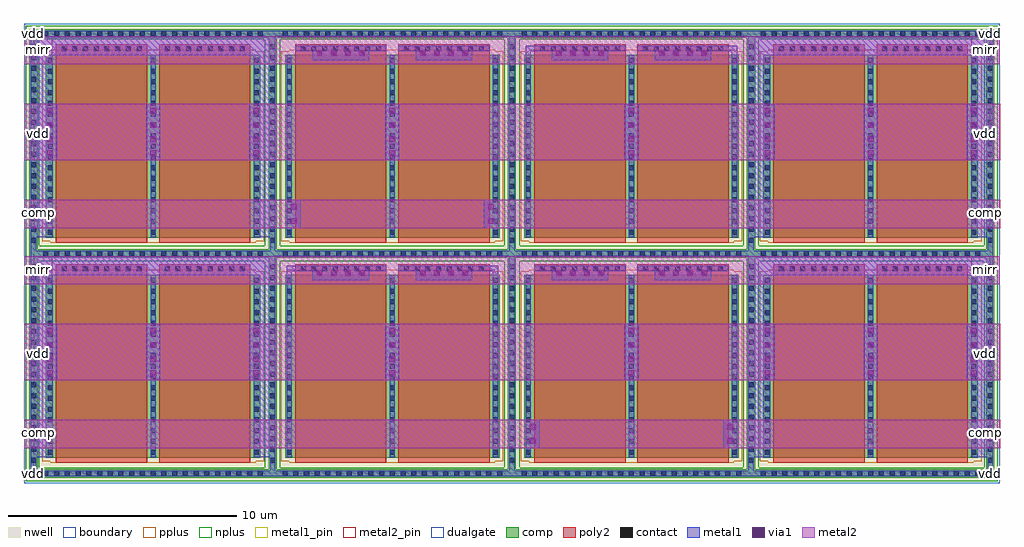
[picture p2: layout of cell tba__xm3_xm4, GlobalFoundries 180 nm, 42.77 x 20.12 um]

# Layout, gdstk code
from math import pi, radians
import gdstk
lib = gdstk.Library(unit=1e-6, precision=1e-09)
def R(c, l, rs):  # rectangles x0, y0, x1, y1
    for r in rs: c.add(gdstk.rectangle(r[:2], r[2:], *l))
def A(c, l, x, y, w, h, nx, ny, dx, dy):  # array of equal rectangles
    R(c, l, [(x+i*dx, y+j*dy, x+i*dx+w, y+j*dy+h) for i in range(nx) for j in range(ny)])
def P(c, l, *ps):  # polygons
    for p in ps: c.add(gdstk.Polygon(p, *l))
boundary = (0, 0)
nwell = (21, 0)
comp = (22, 0)
poly2 = (30, 0)
pplus = (31, 0)
nplus = (32, 0)
contact = (33, 0)
metal1 = (34, 0)
metal1_pin = (34, 10)
via1 = (35, 0)
metal2 = (36, 0)
metal2_pin = (36, 10)
dualgate = (55, 0)

via__m1_m2_squ = lib.new_cell('via__M1_M2_SQU')
R(via__m1_m2_squ, metal1, [(0,0,1.24,0.62), (0,0,1.24,0.62)])
R(via__m1_m2_squ, via1, [(0.18,0.18,0.44,0.44), (0.18,0.18,0.44,0.44), (0.8,0.18,1.06,0.44), (0.8,0.18,1.06,0.44)])
R(via__m1_m2_squ, metal2, [(0,0,1.24,0.62), (0,0,1.24,0.62)])

pfet_06v0_8u_4u_2nf = lib.new_cell('pfet_06v0_8u_4u_2nf')
R(pfet_06v0_8u_4u_2nf, boundary, [(0.42,0.42,10.9,10.06)])
R(pfet_06v0_8u_4u_2nf, nwell, [(0.08,0.08,11.24,10.4)])
R(pfet_06v0_8u_4u_2nf, comp, [(0.24,0.24,11.08,0.6), (0.24,0.6,0.6,9.88), (10.72,0.6,11.08,9.88), (0.96,1.12,10.36,9.12), (0.24,9.88,11.08,10.24)])
R(pfet_06v0_8u_4u_2nf, poly2, [(1.4,0.9,5.4,9.58), (5.92,0.9,9.92,9.58)])
R(pfet_06v0_8u_4u_2nf, pplus, [(1.17,0.89,10.15,0.96), (0.8,0.96,10.52,9.28), (1.17,9.28,10.15,9.35)])
R(pfet_06v0_8u_4u_2nf, nplus, [(0.08,0.08,11.24,0.67), (0.08,0.67,0.67,9.81), (10.65,0.67,11.24,9.81), (0.08,9.81,11.24,10.4)])
A(pfet_06v0_8u_4u_2nf, contact, 0.85, 0.31, 0.22, 0.22, 21, 2, 0.47, 9.64)
A(pfet_06v0_8u_4u_2nf, contact, 0.31, 0.9, 0.22, 0.22, 1, 19, 0, 0.47)
A(pfet_06v0_8u_4u_2nf, contact, 10.79, 0.9, 0.22, 0.22, 1, 19, 0, 0.47)
A(pfet_06v0_8u_4u_2nf, contact, 1.03, 1.25, 0.22, 0.22, 3, 17, 4.52, 0.47)
A(pfet_06v0_8u_4u_2nf, contact, 1.645, 9.29, 0.22, 0.22, 8, 1, 0.47, 0)
A(pfet_06v0_8u_4u_2nf, contact, 6.165, 9.29, 0.22, 0.22, 8, 1, 0.47, 0)
A(pfet_06v0_8u_4u_2nf, metal1, 1.025, 1.13, 0.23, 7.98, 3, 1, 4.52, 0)
R(pfet_06v0_8u_4u_2nf, metal1, [(0.305,0.305,11.015,0.535), (0.305,0.535,0.535,9.945), (10.785,0.535,11.015,9.945), (1.41,9.285,5.39,9.515), (5.93,9.285,9.91,9.515), (0.305,9.945,11.015,10.175)])
R(pfet_06v0_8u_4u_2nf, dualgate, [(0,0,11.32,10.48)])

tba__xm3_xm4 = lib.new_cell('tba__xm3_xm4')
R(tba__xm3_xm4, metal1, [(0.535,1.13,1.025,9.11), (0.535,1.13,1.025,9.11), (10.295,1.13,10.785,9.11), (10.295,1.13,10.785,9.11), (31.975,1.13,32.465,9.11), (41.735,1.13,42.225,9.11), (0.535,9.11,10.785,9.945), (0.535,9.11,10.785,9.945), (31.975,9.11,42.225,9.945), (0.535,10.77,1.025,18.75), (10.295,10.77,10.785,18.75), (31.975,10.77,32.465,18.75), (31.975,10.77,32.465,18.75), (41.735,10.77,42.225,18.75), (41.735,10.77,42.225,18.75), (0.535,18.75,10.785,19.585), (31.975,18.75,42.225,19.585), (31.975,18.75,42.225,19.585)])
P(tba__xm3_xm4, metal1, [(20.545,9.11),(20.545,9.285),(20.39,9.285),(20.39,9.515),(20.775,9.515),(20.775,9.11)],
  [(31.025,18.75),(31.025,18.925),(30.87,18.925),(30.87,19.155),(31.255,19.155),(31.255,18.75)],
  [(11.505,9.11),(11.505,9.515),(11.89,9.515),(11.89,9.285),(11.735,9.285),(11.735,9.11)],
  [(21.985,18.75),(21.985,19.155),(22.37,19.155),(22.37,18.925),(22.215,18.925),(22.215,18.75)])
R(tba__xm3_xm4, metal1_pin, [(0.305,0.305,0.535,0.535), (42.225,0.305,42.455,0.535), (0.305,19.585,0.535,19.815), (42.225,19.585,42.455,19.815)])
R(tba__xm3_xm4, metal2, [(0,1.535,42.76,2.775), (0,4.5,42.76,6.98), (0,8.705,42.76,9.945), (0,11.175,42.76,12.415), (0,14.14,42.76,16.62), (0,18.345,42.76,19.585)])
R(tba__xm3_xm4, metal2_pin, [(0,1.535,1.255,2.775), (41.515,1.535,42.77,2.775), (0,4.5,1.255,6.98), (41.515,4.5,42.77,6.98), (0,8.705,1.245,9.945), (41.515,8.705,42.76,9.945), (0,11.175,1.255,12.415), (41.515,11.175,42.77,12.415), (0,14.14,1.255,16.62), (41.515,14.14,42.77,16.62), (0,18.345,1.245,19.585), (41.515,18.345,42.76,19.585)])
tba__xm3_xm4.add(gdstk.Reference(via__m1_m2_squ, (12.64,9.515), x_reflection=True))
tba__xm3_xm4.add(gdstk.Reference(via__m1_m2_squ, (13.88,9.515), x_reflection=True))
tba__xm3_xm4.add(gdstk.Reference(via__m1_m2_squ, (17.16,9.515), x_reflection=True))
tba__xm3_xm4.add(gdstk.Reference(via__m1_m2_squ, (18.4,9.515), x_reflection=True))
tba__xm3_xm4.add(gdstk.Reference(via__m1_m2_squ, (23.12,9.515), x_reflection=True))
tba__xm3_xm4.add(gdstk.Reference(via__m1_m2_squ, (24.36,9.515), x_reflection=True))
tba__xm3_xm4.add(gdstk.Reference(via__m1_m2_squ, (27.64,9.515), x_reflection=True))
tba__xm3_xm4.add(gdstk.Reference(via__m1_m2_squ, (28.88,9.515), x_reflection=True))
tba__xm3_xm4.add(gdstk.Reference(via__m1_m2_squ, (13.88,19.155), rotation=pi))
tba__xm3_xm4.add(gdstk.Reference(via__m1_m2_squ, (15.12,19.155), rotation=pi))
tba__xm3_xm4.add(gdstk.Reference(via__m1_m2_squ, (18.4,19.155), rotation=pi))
tba__xm3_xm4.add(gdstk.Reference(via__m1_m2_squ, (19.64,19.155), rotation=pi))
tba__xm3_xm4.add(gdstk.Reference(via__m1_m2_squ, (24.36,19.155), rotation=pi))
tba__xm3_xm4.add(gdstk.Reference(via__m1_m2_squ, (25.6,19.155), rotation=pi))
tba__xm3_xm4.add(gdstk.Reference(via__m1_m2_squ, (28.88,19.155), rotation=pi))
tba__xm3_xm4.add(gdstk.Reference(via__m1_m2_squ, (30.12,19.155), rotation=pi))
tba__xm3_xm4.add(gdstk.Reference(via__m1_m2_squ, (11.505,12.415), rotation=3*pi/2))
tba__xm3_xm4.add(gdstk.Reference(via__m1_m2_squ, (20.155,12.415), rotation=3*pi/2))
tba__xm3_xm4.add(gdstk.Reference(via__m1_m2_squ, (0.83,15.38), rotation=3*pi/2))
tba__xm3_xm4.add(gdstk.Reference(via__m1_m2_squ, (5.35,15.38), rotation=3*pi/2))
tba__xm3_xm4.add(gdstk.Reference(via__m1_m2_squ, (9.87,15.38), rotation=3*pi/2))
tba__xm3_xm4.add(gdstk.Reference(via__m1_m2_squ, (15.83,15.38), rotation=3*pi/2))
tba__xm3_xm4.add(gdstk.Reference(via__m1_m2_squ, (26.31,15.38), rotation=3*pi/2))
tba__xm3_xm4.add(gdstk.Reference(via__m1_m2_squ, (32.27,15.38), rotation=3*pi/2))
tba__xm3_xm4.add(gdstk.Reference(via__m1_m2_squ, (36.79,15.38), rotation=3*pi/2))
tba__xm3_xm4.add(gdstk.Reference(via__m1_m2_squ, (41.31,15.38), rotation=3*pi/2))
tba__xm3_xm4.add(gdstk.Reference(via__m1_m2_squ, (0.83,16.62), rotation=3*pi/2))
tba__xm3_xm4.add(gdstk.Reference(via__m1_m2_squ, (5.35,16.62), rotation=3*pi/2))
tba__xm3_xm4.add(gdstk.Reference(via__m1_m2_squ, (9.87,16.62), rotation=3*pi/2))
tba__xm3_xm4.add(gdstk.Reference(via__m1_m2_squ, (15.83,16.62), rotation=3*pi/2))
tba__xm3_xm4.add(gdstk.Reference(via__m1_m2_squ, (26.31,16.62), rotation=3*pi/2))
tba__xm3_xm4.add(gdstk.Reference(via__m1_m2_squ, (32.27,16.62), rotation=3*pi/2))
tba__xm3_xm4.add(gdstk.Reference(via__m1_m2_squ, (36.79,16.62), rotation=3*pi/2))
tba__xm3_xm4.add(gdstk.Reference(via__m1_m2_squ, (41.31,16.62), rotation=3*pi/2))
tba__xm3_xm4.add(gdstk.Reference(via__m1_m2_squ, (22.605,2.775), rotation=3*pi/2, x_reflection=True))
tba__xm3_xm4.add(gdstk.Reference(via__m1_m2_squ, (31.255,2.775), rotation=3*pi/2, x_reflection=True))
tba__xm3_xm4.add(gdstk.Reference(via__m1_m2_squ, (1.45,5.74), rotation=3*pi/2, x_reflection=True))
tba__xm3_xm4.add(gdstk.Reference(via__m1_m2_squ, (5.97,5.74), rotation=3*pi/2, x_reflection=True))
tba__xm3_xm4.add(gdstk.Reference(via__m1_m2_squ, (10.49,5.74), rotation=3*pi/2, x_reflection=True))
tba__xm3_xm4.add(gdstk.Reference(via__m1_m2_squ, (16.45,5.74), rotation=3*pi/2, x_reflection=True))
tba__xm3_xm4.add(gdstk.Reference(via__m1_m2_squ, (26.93,5.74), rotation=3*pi/2, x_reflection=True))
tba__xm3_xm4.add(gdstk.Reference(via__m1_m2_squ, (32.89,5.74), rotation=3*pi/2, x_reflection=True))
tba__xm3_xm4.add(gdstk.Reference(via__m1_m2_squ, (37.41,5.74), rotation=3*pi/2, x_reflection=True))
tba__xm3_xm4.add(gdstk.Reference(via__m1_m2_squ, (41.93,5.74), rotation=3*pi/2, x_reflection=True))
tba__xm3_xm4.add(gdstk.Reference(via__m1_m2_squ, (1.45,6.98), rotation=3*pi/2, x_reflection=True))
tba__xm3_xm4.add(gdstk.Reference(via__m1_m2_squ, (5.97,6.98), rotation=3*pi/2, x_reflection=True))
tba__xm3_xm4.add(gdstk.Reference(via__m1_m2_squ, (10.49,6.98), rotation=3*pi/2, x_reflection=True))
tba__xm3_xm4.add(gdstk.Reference(via__m1_m2_squ, (16.45,6.98), rotation=3*pi/2, x_reflection=True))
tba__xm3_xm4.add(gdstk.Reference(via__m1_m2_squ, (26.93,6.98), rotation=3*pi/2, x_reflection=True))
tba__xm3_xm4.add(gdstk.Reference(via__m1_m2_squ, (32.89,6.98), rotation=3*pi/2, x_reflection=True))
tba__xm3_xm4.add(gdstk.Reference(via__m1_m2_squ, (37.41,6.98), rotation=3*pi/2, x_reflection=True))
tba__xm3_xm4.add(gdstk.Reference(via__m1_m2_squ, (41.93,6.98), rotation=3*pi/2, x_reflection=True))
r = gdstk.Reference(pfet_06v0_8u_4u_2nf, (0,0)); r.repetition = gdstk.Repetition(4, 2, v1=(10.48,0), v2=(0,9.64)); tba__xm3_xm4.add(r)
tba__xm3_xm4.add(gdstk.Label('vdd', (0.42,0.42), layer=34, texttype=10))
tba__xm3_xm4.add(gdstk.Label('vdd', (42.34,0.42), layer=34, texttype=10))
tba__xm3_xm4.add(gdstk.Label('vdd', (0.42,19.7), layer=34, texttype=10))
tba__xm3_xm4.add(gdstk.Label('vdd', (42.34,19.7), layer=34, texttype=10))
tba__xm3_xm4.add(gdstk.Label('comp', (0.64,2.195), layer=36, texttype=10))
tba__xm3_xm4.add(gdstk.Label('comp', (42.155,2.195), layer=36, texttype=10))
tba__xm3_xm4.add(gdstk.Label('comp', (0.64,11.835), layer=36, texttype=10))
tba__xm3_xm4.add(gdstk.Label('comp', (42.155,11.835), layer=36, texttype=10))
tba__xm3_xm4.add(gdstk.Label('vdd', (0.625,5.69), layer=36, texttype=10))
tba__xm3_xm4.add(gdstk.Label('vdd', (42.14,5.69), layer=36, texttype=10))
tba__xm3_xm4.add(gdstk.Label('vdd', (0.625,15.33), layer=36, texttype=10))
tba__xm3_xm4.add(gdstk.Label('vdd', (42.14,15.33), layer=36, texttype=10))
tba__xm3_xm4.add(gdstk.Label('mirr', (0.625,9.37), layer=36, texttype=10))
tba__xm3_xm4.add(gdstk.Label('mirr', (42.14,9.37), layer=36, texttype=10))
tba__xm3_xm4.add(gdstk.Label('mirr', (0.625,19.01), layer=36, texttype=10))
tba__xm3_xm4.add(gdstk.Label('mirr', (42.14,19.01), layer=36, texttype=10))

lib.write_gds('tba__xm3_xm4.gds')
